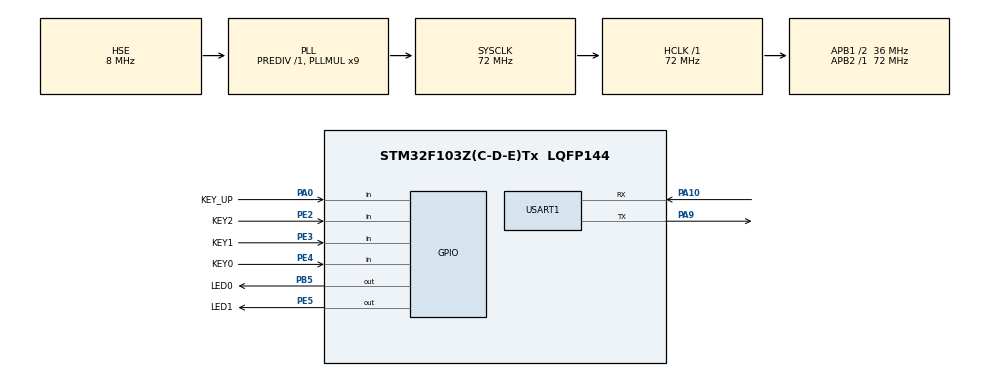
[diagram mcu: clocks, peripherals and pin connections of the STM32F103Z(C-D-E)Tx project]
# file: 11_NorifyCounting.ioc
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FREERTOS.Tasks01=Task_Checkin,24,128,AppTask_Checkin,Default,NULL,Dynamic,NULL,NULL
Mcu.Family=STM32F1
Mcu.Name=STM32F103Z(C-D-E)Tx
Mcu.Package=LQFP144
NVIC.PriorityGroup=NVIC_PRIORITYGROUP_4
NVIC.TIM3_IRQn=true\:5\:0\:false\:false\:true\:true\:true\:true\:true
NVIC.TIM6_IRQn=true\:15\:0\:false\:false\:true\:false\:false\:true\:true
NVIC.TimeBase=TIM6_IRQn
NVIC.TimeBaseIP=TIM6
OSC_IN.Mode=HSE-External-Oscillator
OSC_IN.Signal=RCC_OSC_IN
OSC_OUT.Mode=HSE-External-Oscillator
OSC_OUT.Signal=RCC_OSC_OUT
PA0-WKUP.GPIO_Label=KEY_UP
PA0-WKUP.GPIO_PuPd=GPIO_PULLDOWN
PA0-WKUP.Signal=GPIO_Input
PA10.Mode=Asynchronous
PA10.Signal=USART1_RX
PA13.Mode=Serial_Wire
PA13.Signal=SYS_JTMS-SWDIO
PA14.Mode=Serial_Wire
PA14.Signal=SYS_JTCK-SWCLK
PA9.Mode=Asynchronous
PA9.Signal=USART1_TX
PB5.GPIO_Label=LED0
PB5.Signal=GPIO_Output
PC14-OSC32_IN.Mode=LSE-External-Oscillator
PC14-OSC32_IN.Signal=RCC_OSC32_IN
PC15-OSC32_OUT.Mode=LSE-External-Oscillator
PC15-OSC32_OUT.Signal=RCC_OSC32_OUT
PE2.GPIO_Label=KEY2
PE2.GPIO_PuPd=GPIO_PULLUP
PE2.Signal=GPIO_Input
PE3.GPIO_Label=KEY1
PE3.GPIO_PuPd=GPIO_PULLUP
PE3.Signal=GPIO_Input
PE4.GPIO_Label=KEY0
PE4.GPIO_PuPd=GPIO_PULLUP
PE4.Signal=GPIO_Input
PE5.GPIO_Label=LED1
PE5.Signal=GPIO_Output
ProjectManager.HeapSize=0x800
ProjectManager.StackSize=0x800
ProjectManager.TargetToolchain=MDK-ARM V5.32
RCC.AHBFreq_Value=72000000
RCC.APB1CLKDivider=RCC_HCLK_DIV2
RCC.APB1Freq_Value=36000000
RCC.APB1TimFreq_Value=72000000
RCC.APB2Freq_Value=72000000
RCC.APB2TimFreq_Value=72000000
RCC.HCLKFreq_Value=72000000
RCC.PLLMUL=RCC_PLL_MUL9
RCC.PLLSourceVirtual=RCC_PLLSOURCE_HSE
RCC.RTCClockSelection=RCC_RTCCLKSOURCE_LSE
RCC.SYSCLKFreq_VALUE=72000000
RCC.SYSCLKSource=RCC_SYSCLKSOURCE_PLLCLK
RCC.USBFreq_Value=72000000
TIM3.AutoReloadPreload=TIM_AUTORELOAD_PRELOAD_ENABLE
TIM3.Period=7200-1
TIM3.Prescaler=30000-1
TIM3.TIM_MasterOutputTrigger=TIM_TRGO_UPDATE
USART1.VirtualMode=VM_ASYNC
VP_FREERTOS_VS_CMSIS_V2.Mode=CMSIS_V2
VP_SYS_VS_tim6.Mode=TIM6
VP_TIM3_VS_ClockSourceINT.Mode=Internal
board=custom

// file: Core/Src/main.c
/* USER CODE BEGIN Header */
/**
  ******************************************************************************
  * @file           : main.c
  * @brief          : Main program body
  ******************************************************************************
  * @attention
  *
  * Copyright (c) 2025 STMicroelectronics.
  * All rights reserved.
  *
  * This software is licensed under terms that can be found in the LICENSE file
  * in the root directory of this software component.
  * If no LICENSE file comes with this software, it is provided AS-IS.
  *
  ******************************************************************************
  */
/* USER CODE END Header */
#include "main.h"
#include "cmsis_os.h"
#include "tim.h"
#include "usart.h"
#include "gpio.h"

void SystemClock_Config(void);
void MX_FREERTOS_Init(void);

int main(void)
{

  /* MCU Configuration--------------------------------------------------------*/

  /* Reset of all peripherals, Initializes the Flash interface and the Systick. */
  HAL_Init();

  /* Configure the system clock */
  SystemClock_Config();

  /* Initialize all configured peripherals */
  MX_GPIO_Init();
  MX_USART1_UART_Init();
  MX_TIM3_Init();

  /* Init scheduler */
  osKernelInitialize();  /* Call init function for freertos objects (in cmsis_os2.c) */
  MX_FREERTOS_Init();

  /* Start scheduler */
  osKernelStart();

  /* We should never get here as control is now taken by the scheduler */

  /* Infinite loop */
  while (1)
  {

  }
}

void SystemClock_Config(void)
{
  RCC_OscInitTypeDef RCC_OscInitStruct = {0};
  RCC_ClkInitTypeDef RCC_ClkInitStruct = {0};

  /** Initializes the RCC Oscillators according to the specified parameters
  * in the RCC_OscInitTypeDef structure.
  */
  RCC_OscInitStruct.OscillatorType = RCC_OSCILLATORTYPE_HSE;
  RCC_OscInitStruct.HSEState = RCC_HSE_ON;
  RCC_OscInitStruct.HSEPredivValue = RCC_HSE_PREDIV_DIV1;
  RCC_OscInitStruct.HSIState = RCC_HSI_ON;
  RCC_OscInitStruct.PLL.PLLState = RCC_PLL_ON;
  RCC_OscInitStruct.PLL.PLLSource = RCC_PLLSOURCE_HSE;
  RCC_OscInitStruct.PLL.PLLMUL = RCC_PLL_MUL9;
  if (HAL_RCC_OscConfig(&RCC_OscInitStruct) != HAL_OK)
  {
    Error_Handler();
  }

  /** Initializes the CPU, AHB and APB buses clocks
  */
  RCC_ClkInitStruct.ClockType = RCC_CLOCKTYPE_HCLK|RCC_CLOCKTYPE_SYSCLK
                              |RCC_CLOCKTYPE_PCLK1|RCC_CLOCKTYPE_PCLK2;
  RCC_ClkInitStruct.SYSCLKSource = RCC_SYSCLKSOURCE_PLLCLK;
  RCC_ClkInitStruct.AHBCLKDivider = RCC_SYSCLK_DIV1;
  RCC_ClkInitStruct.APB1CLKDivider = RCC_HCLK_DIV2;
  RCC_ClkInitStruct.APB2CLKDivider = RCC_HCLK_DIV1;

  if (HAL_RCC_ClockConfig(&RCC_ClkInitStruct, FLASH_LATENCY_2) != HAL_OK)
  {
    Error_Handler();
  }
}

void Error_Handler(void)
{
  __disable_irq();
  while (1)
  {
  }
}

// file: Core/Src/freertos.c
/* USER CODE BEGIN Header */
/**
  ******************************************************************************
  * File Name          : freertos.c
  * Description        : Code for freertos applications
  ******************************************************************************
  * @attention
  *
  * Copyright (c) 2025 STMicroelectronics.
  * All rights reserved.
  *
  * This software is licensed under terms that can be found in the LICENSE file
  * in the root directory of this software component.
  * If no LICENSE file comes with this software, it is provided AS-IS.
  *
  ******************************************************************************
  */
/* USER CODE END Header */

#include "FreeRTOS.h"
#include "task.h"
#include "main.h"
#include "cmsis_os.h"

/* USER CODE BEGIN Includes */
#include "stdio.h"
#include "string.h"
#include "stdlib.h"
#include "usart.h"
#include "tim.h"
#include "key.h"
/* USER CODE END Includes */

/* Definitions for Task_Checkin */
osThreadId_t Task_CheckinHandle;
const osThreadAttr_t Task_Checkin_attributes = {
  .name = "Task_Checkin",
  .stack_size = 128 * 4,
  .priority = (osPriority_t) osPriorityNormal,
};

void AppTask_Checkin(void *argument);

void MX_FREERTOS_Init(void); /* (MISRA C 2004 rule 8.1) */

void MX_FREERTOS_Init(void) {

  /* Create the thread(s) */
  /* creation of Task_Checkin */
  Task_CheckinHandle = osThreadNew(AppTask_Checkin, NULL, &Task_Checkin_attributes);

}

void AppTask_Checkin(void *argument)
{
  /* USER CODE BEGIN AppTask_Checkin */
	HAL_TIM_Base_Start_IT(&htim3);
  /* Infinite loop */
  for(;;)
  {
    if (HAL_GPIO_ReadPin(KEYRIGHT_GPIO_PORT, KEYRIGHT_GPIO_PIN) == GPIO_PIN_RESET)
    {
      BaseType_t xClearCountOnExit = pdFALSE;
      uint32_t preCount = ulTaskNotifyTake(xClearCountOnExit, portMAX_DELAY);

      char temp_str[20];
      sprintf(temp_str, "count:%d\r\n", preCount - 1);
      HAL_UART_Transmit(&huart1, (uint8_t*)temp_str, strlen(temp_str), 1000);
      vTaskDelay(pdMS_TO_TICKS(200));
    }else
    {
      vTaskDelay(pdMS_TO_TICKS(5));
    }
    osDelay(1);
  }
  /* USER CODE END AppTask_Checkin */
}

/* USER CODE BEGIN Application */
/**
  * @brief  Period elapsed callback in non blocking mode
  * @note   This function is called  when TIM6 interrupt took place, inside
  * HAL_TIM_IRQHandler(). It makes a direct call to HAL_IncTick() to increment
  * a global variable "uwTick" used as application time base.
  * @param  htim : TIM handle
  * @retval None
  */
void HAL_TIM_PeriodElapsedCallback(TIM_HandleTypeDef *htim)
{
  /* USER CODE BEGIN Callback 0 */

  /* USER CODE END Callback 0 */
  if (htim->Instance == TIM6)
  {
    HAL_IncTick();
  }else if (htim->Instance == TIM3)
  {
    HAL_GPIO_TogglePin(LED0_GPIO_Port, LED0_Pin);
    BaseType_t pxHigherPriorityTaskWoken = pdFALSE;
    vTaskNotifyGiveFromISR(Task_CheckinHandle, &pxHigherPriorityTaskWoken);
    portYIELD_FROM_ISR(pxHigherPriorityTaskWoken);
  }
  /* USER CODE BEGIN Callback 1 */

  /* USER CODE END Callback 1 */
}
/* USER CODE END Application */
